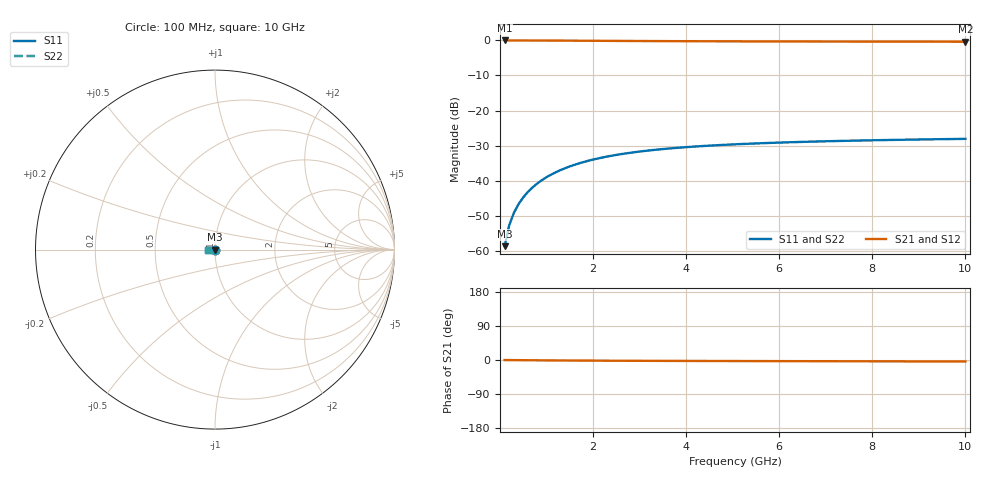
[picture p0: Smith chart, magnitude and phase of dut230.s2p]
! Touchstone file exported from HFSS 2024.1.0
!  File:  C:/UserFiles/LocalFiles/RDL_TSV_Batchsim/temp_TSV1_230_1779388746.aedt
!  Generated:  02:44:07 AM May 22, 2026
!  Design:  TSV1
!  Project:  temp_TSV1_230_1779388746
!  Setup:  Setup1
!  Solution:  Sweep
! Variables:
!  dtsv = 13.35um
!  hbump = 3um
!  htsv = 57.47um
!  lrdl = 252.1521522um
!  p = 40
!  p1 = 53.41um
!  t = 500um
!  trdl = 3um
!  wrdl = 24.89489489um
# GHz S MA R 50.000000
! Terminal data exported
! Port[1] = TSV22_T1
! Port[2] = TSV22_T2
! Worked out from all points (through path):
!   100 points, 100 MHz to 10 GHz, reference 50 ohm
!   highest |S21| = 0.00 dB at 100 MHz (marker M1); lowest = -0.4 dB at 10 GHz (marker M2)
!   lowest |S11| = -58.7 dB at 100 MHz (marker M3), VSWR 1.00, Z = 50 - j0.116 ohm
!   |S11| at or under -10 dB: start of sweep to end of sweep
!   |S22| runs from -58.7 to -28.1 dB; largest |S21 - S12| = 5.4e-15
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0.1  0.00116 -88.3  0.9999 -0.1  0.9999 -0.1  0.00116 -88.3
! Gamma 0 0 0 0
! Port Impedance 50 0 50 0
0.2  0.002318 -91.7  0.9998 -0.2  0.9998 -0.2  0.002318 -91.7
0.3  0.003475 -94.1  0.9996 -0.3  0.9996 -0.3  0.003475 -94.1
0.4  0.004625 -96.2  0.9993 -0.4  0.9993 -0.4  0.004625 -96.2
0.5  0.005764 -98.2  0.9989 -0.5  0.9989 -0.5  0.005764 -98.2
0.6  0.006889 -100.2  0.9985 -0.6  0.9985 -0.6  0.006889 -100.2
0.7  0.007995 -102.0  0.9981 -0.7  0.9981 -0.7  0.007995 -102.0
0.8  0.00908 -103.9  0.9976 -0.8  0.9976 -0.8  0.00908 -103.9
0.9  0.01014 -105.7  0.997 -0.9  0.997 -0.9  0.01014 -105.7
1.1  0.01219 -109.2  0.9957 -1.1  0.9957 -1.1  0.01219 -109.2
1.4  0.01504 -114.2  0.9936 -1.3  0.9936 -1.3  0.01504 -114.2
1.6  0.0168 -117.3  0.9921 -1.4  0.9921 -1.4  0.0168 -117.3
1.8  0.01844 -120.2  0.9905 -1.6  0.9905 -1.6  0.01844 -120.2
2.1  0.02067 -124.4  0.9881 -1.8  0.9881 -1.8  0.02067 -124.4
2.5  0.02327 -129.4  0.9851 -2.0  0.9851 -2.0  0.02327 -129.4
2.9  0.02548 -133.9  0.9822 -2.1  0.9822 -2.1  0.02548 -133.9
3.4  0.02778 -138.8  0.9789 -2.3  0.9789 -2.3  0.02778 -138.8
4.2  0.03066 -145.5  0.9745 -2.5  0.9745 -2.5  0.03066 -145.5
5.1  0.03307 -151.7  0.9706 -2.8  0.9706 -2.8  0.03307 -151.7
6.7  0.03599 -160.4  0.9657 -3.2  0.9657 -3.2  0.03599 -160.4
8.4  0.03804 -167.6  0.9622 -3.5  0.9622 -3.5  0.03804 -167.6
10  0.03943 -173.1  0.9599 -3.9  0.9599 -3.9  0.03943 -173.1
